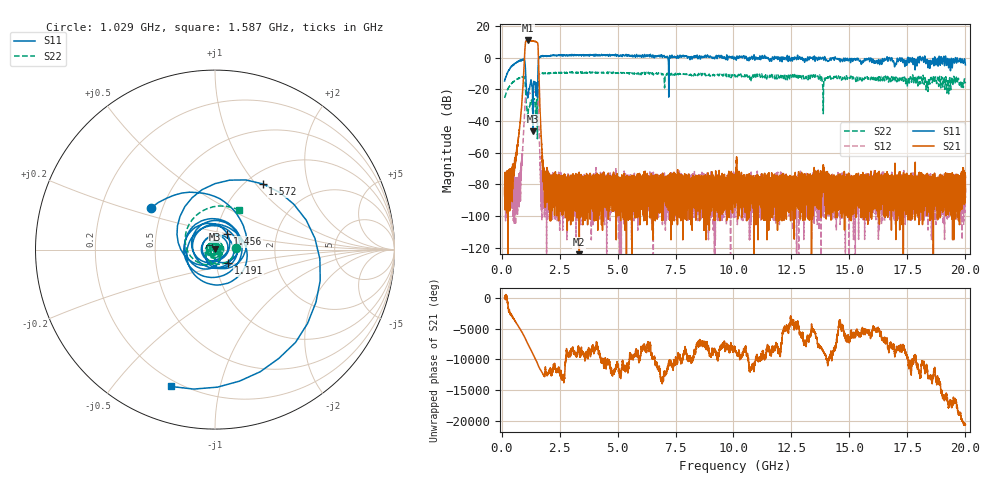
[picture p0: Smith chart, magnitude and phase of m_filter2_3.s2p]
!Created with skrf (http://scikit-rf.org).
# GHz S RI R 50.0
!freq ReS11 ImS11 ReS21 ImS21 ReS12 ImS12 ReS22 ImS22
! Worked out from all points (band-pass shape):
!   20013 points, 130 MHz to 20 GHz, reference 50 ohm
!   highest |S21| = 10.87 dB at 1.128 GHz (marker M1); lowest = -178.6 dB at 3.352 GHz (marker M2)
!   |S21| within 3 dB of the highest: 1.018 GHz to 1.569 GHz (551.7 MHz wide, 42.7 % of centre)
!   lowest |S11| = -46.6 dB at 1.346 GHz (marker M3), VSWR 1.01, Z = 49.8 + j0.421 ohm
!   |S11| at or under -10 dB: start of sweep to 240.7 MHz; 1.036 GHz to 1.567 GHz (530.6 MHz wide, 40.8 % of centre); 7.203919 GHz to 7.211675 GHz (7.757 MHz wide, 0.108 % of centre)
!   |S22| runs from -51.3 to -9.0 dB; largest |S21 - S12| = 3.5
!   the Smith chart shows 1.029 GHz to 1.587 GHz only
!   S11 on the Smith chart (normalised r, x): 1.029 GHz: 0.43, +0.24; 1.191 GHz: 1.14, -0.18; 1.456 GHz: 1.13, +0.20; 1.572 GHz: 1.18, +1.09; 1.587 GHz: 0.17, -0.71
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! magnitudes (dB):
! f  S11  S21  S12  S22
! 130 MHz  -14.7  -82.2  -86.5  -25.5
! 475 MHz  -4.6  -75.0  -86.7  -15.7
! 752 MHz  -2.0  -47.5  -76.7  -13.1
! 859 MHz  -1.7  -32.2  -66.4  -12.4
! 1.029 GHz  -7.4  9.5  -25.7  -18.7
! 1.128 GHz  -25.4  10.9  -23.3  -38.3
! 1.191 GHz  -19.5  10.6  -22.9  -31.2
! 1.346 GHz  -46.6  10.6  -21.8  -35.2
! 1.456 GHz  -19.1  10.2  -21.4  -33.4
! 1.512 GHz  -16.0  9.7  -21.5  -26.6
! 1.572 GHz  -6.9  7.3  -23.7  -16.6
! 1.587 GHz  -1.9  0.4  -30.4  -11.7
! 1.728 GHz  0.9  -54.7  -77.3  -10.0
! 1.808 GHz  0.8  -71.7  -85.4  -10.0
! 1.884 GHz  1.0  -77.6  -74.5  -10.0
! 3.352 GHz  1.6  -178.6  -86.1  -9.3
! 3.442 GHz  1.2  -80.3  -84.9  -9.8
! 6.754 GHz  1.3  -86.2  -82.3  -9.9
! 10.06 GHz  0.2  -86.6  -88.8  -11.7
! 13.38 GHz  -0.3  -84.7  -89.9  -12.2
! 16.69 GHz  -0.2  -82.0  -78.9  -15.5
! 20 GHz  -4.5  -75.7  -81.7  -16.2
